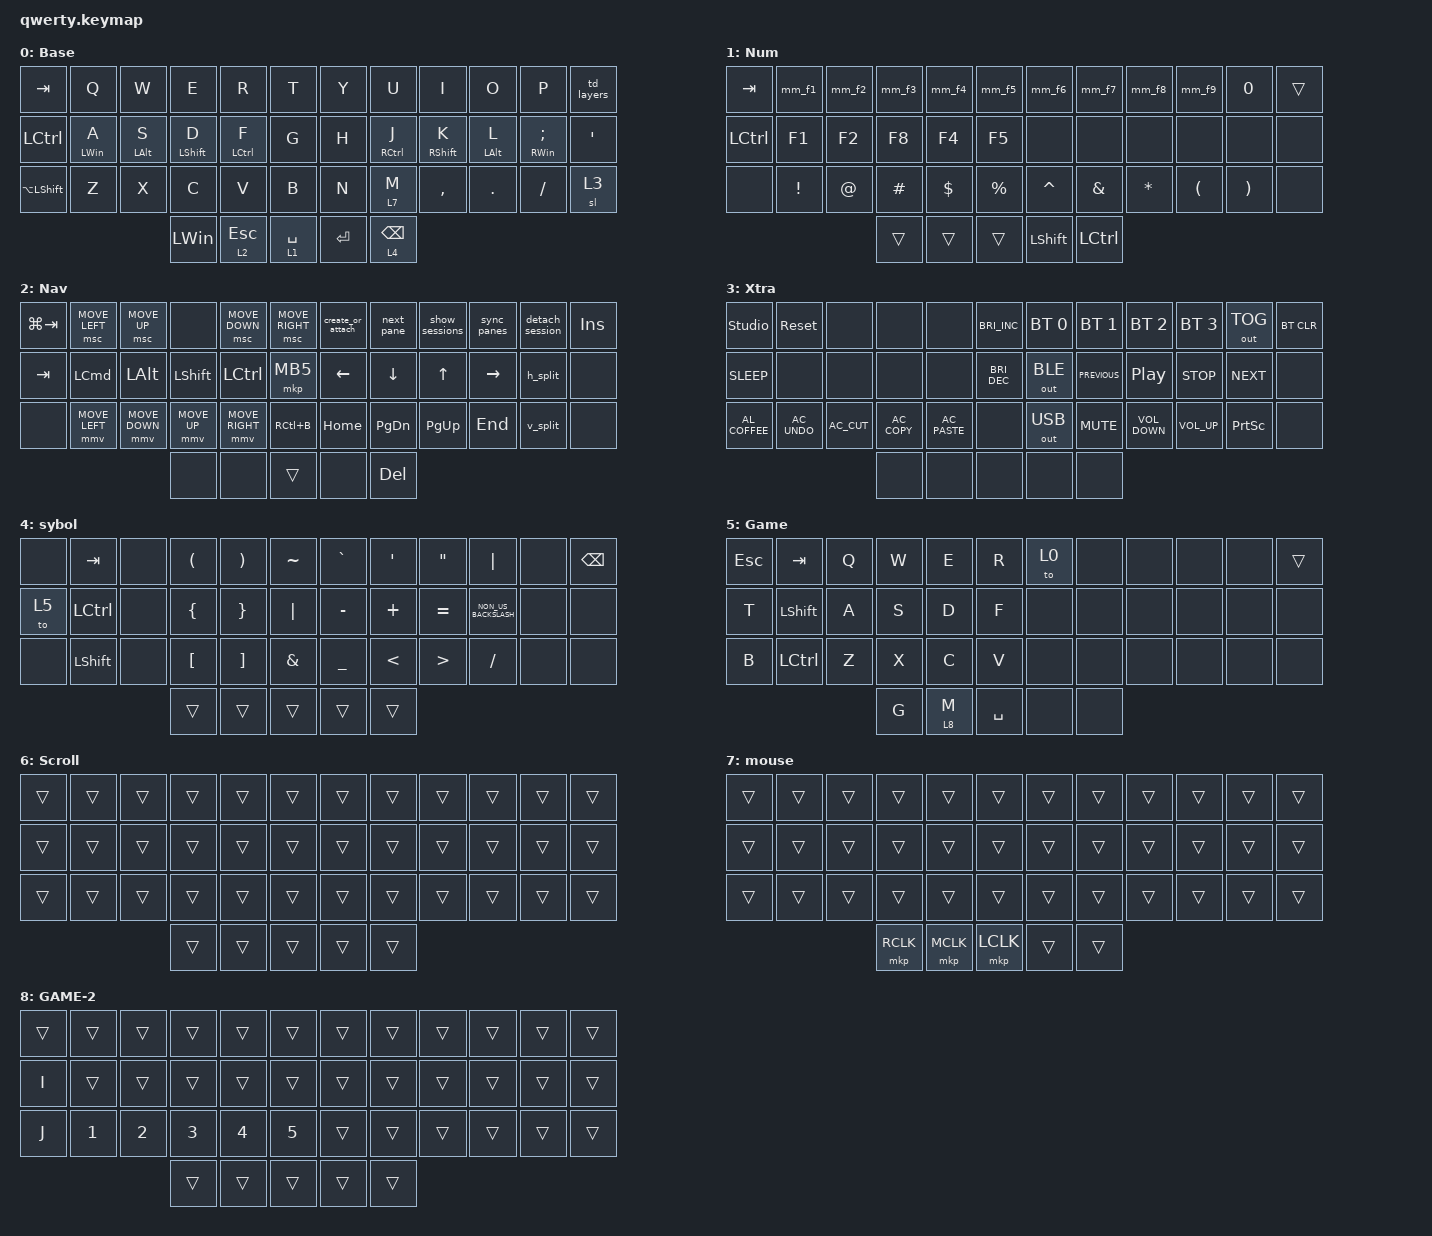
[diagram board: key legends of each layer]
/* upstream bindings and behaviors */

#include <dt-bindings/zmk/mouse.h>
#include <behaviors/mouse_keys.dtsi>
#include <behaviors.dtsi>
#include <dt-bindings/zmk/bt.h>
#include <dt-bindings/zmk/keys.h>
#include <dt-bindings/zmk/outputs.h>
#include <dt-bindings/zmk/pointing.h>

/* local overlays */

/ {
    /* --- KEYMAP CONFIG --- */
    // ╭──────┬──────┬──────┬──────┬──────┬──────╮  ╭──────┬──────┬──────┬──────┬──────┬──────╮
    //    00     01     02     03    04      05        06     07     08     09     10     11
    // ├──────┼──────┼──────┼──────┼──────┼──────┤  ├──────┼──────┼──────┼──────┼──────┼──────┤
    //    12     13     14     15    16      17        18     19     20     21     22     23
    // ├──────┼──────┼──────┼──────┼──────┼──────┤  ├──────┼──────┼──────┼──────┼──────┼──────┤
    //    24     25     26     27    28      29        30     31     32     33     34     35
    // ╰──────┴──────┴──────┼──────┼──────┼──────┤  ├──────┼──────┼──────┴──────┴──────┴──────╯
    //                         36     37     38        39     40
    //                      ╰──────┴──────┴──────╯  ╰──────┴──────╯
    // #define BASE    0
    // #define NUM     1
    // #define NAV     2
    // #define SYM     3
    // #define GAME    4
    // #define EXTRAS  5
    // #define SLOW    6
    // #define SCROLL  7
    // #define mouse   8

    #define KEYS_L 0 1 2 3 4 5 12 13 14 15 16 17 24 25 26 27 28 29 36 37 38 19 20 21 22  // Left-hand keys.
#define KEYS_R 6 7 8 9 10 11 18 19 20 21 22 23 30 31 32 33 34 35 39 40 16 15 14 13  // Right-hand keys.
#define THUMBS 36 37 38 39 40  // Thumb keys.
    behaviors {
        // ht_num_func: homerow_mod {
        //     compatible = "zmk,behavior-hold-tap";
        //     #binding-cells = <2>;
        //     flavor = "tap-preferred";
        //     tapping-term-ms = <260>; // triggers the hold behavior when the tapping-term-ms has expired
        //     quick-tap-ms = <220>; // If you press a tapped hold-tap again within quick-tap-ms milliseconds of the first press, it will always trigger the tap behavior.
        //     require-prior-idle-ms = <185>; // like quick-tap-ms however it will apply for any non-modifier key pressed before it
        //     bindings = <&kp>, <&kp>;  // hold, tap
        // };

        mm_f1: num_or_f1 {
            compatible = "zmk,behavior-mod-morph";
            #binding-cells = <0>;
            bindings = <&kp N1>, <&kp F1>;

            mods = <(MOD_LCTL)>;
        };

        mm_f2: num_or_f2 {
            compatible = "zmk,behavior-mod-morph";
            #binding-cells = <0>;
            bindings = <&kp N2>, <&kp F2>;

            mods = <(MOD_LCTL)>;
        };

        mm_f3: num_or_f3 {
            compatible = "zmk,behavior-mod-morph";
            #binding-cells = <0>;
            bindings = <&kp N3>, <&kp F3>;

            mods = <(MOD_LCTL)>;
        };

        mm_f4: num_or_f4 {
            compatible = "zmk,behavior-mod-morph";
            #binding-cells = <0>;
            bindings = <&kp N4>, <&kp F4>;

            mods = <(MOD_LCTL)>;
        };

        mm_f5: num_or_f5 {
            compatible = "zmk,behavior-mod-morph";
            #binding-cells = <0>;
            bindings = <&kp N5>, <&kp F5>;

            mods = <(MOD_LCTL)>;
        };

        mm_f6: num_or_f6 {
            compatible = "zmk,behavior-mod-morph";
            #binding-cells = <0>;
            bindings = <&kp N6>, <&kp F6>;

            mods = <(MOD_LCTL)>;
        };

        mm_f7: num_or_f7 {
            compatible = "zmk,behavior-mod-morph";
            #binding-cells = <0>;
            bindings = <&kp N7>, <&kp F7>;

            mods = <(MOD_LCTL)>;
        };

        mm_f8: num_or_f8 {
            compatible = "zmk,behavior-mod-morph";
            #binding-cells = <0>;
            bindings = <&kp N8>, <&kp F8>;

            mods = <(MOD_LCTL)>;
        };

        mm_f9: num_or_f9 {
            compatible = "zmk,behavior-mod-morph";
            #binding-cells = <0>;
            bindings = <&kp N9>, <&kp F9>;

            mods = <(MOD_LCTL)>;
        };

        mm_f10: pct_or_f10 {
            compatible = "zmk,behavior-mod-morph";
            #binding-cells = <0>;
            bindings = <&kp PRCNT>, <&kp F10>;

            mods = <(MOD_LCTL)>;
        };

        mm_f11: asterisk_or_f11 {
            compatible = "zmk,behavior-mod-morph";
            #binding-cells = <0>;
            bindings = <&kp ASTRK>, <&kp F11>;

            mods = <(MOD_LCTL)>;
        };

        mm_f12: dot_or_f12 {
            compatible = "zmk,behavior-mod-morph";
            #binding-cells = <0>;
            bindings = <&kp DOT>, <&kp F12>;

            mods = <(MOD_LCTL)>;
        };

        // Left-hand HRM

        ht_left: left_side_homerow_mod {
            compatible = "zmk,behavior-hold-tap";
            #binding-cells = <2>;
            flavor = "balanced";
            tapping-term-ms = <280>;
            quick-tap-ms = <160>;
            require-prior-idle-ms = <65>;
            retro-tap;
            bindings = <&kp>, <&kp>;

            hold-trigger-key-positions = <KEYS_R THUMBS>;
        };

        // Right-hand HRM

        ht_right: right_side_homerow_mod {
            compatible = "zmk,behavior-hold-tap";
            #binding-cells = <2>;
            flavor = "balanced";
            tapping-term-ms = <280>;
            quick-tap-ms = <160>;
            require-prior-idle-ms = <55>;
            retro-tap;
            bindings = <&kp>, <&kp>;

            hold-trigger-key-positions = <KEYS_L THUMBS>;
        };

        td_esc_scrl_slow: td_esc_scrl_slow {
            compatible = "zmk,behavior-tap-dance";
            #binding-cells = <0>;
            tapping-term-ms = <150>;
            bindings = <&lt 5 ESC>, <&mo 3>;

            // hold, tap, double_tap
        };

        lt_nav: nav_layer_tap {
            compatible = "zmk,behavior-hold-tap";
            #binding-cells = <2>;
            flavor = "tap-preferred";
            tapping-term-ms = <170>;
            bindings = <&mo>, <&kp>;
        };

        td_space_nav: td_space {
            compatible = "zmk,behavior-tap-dance";
            #binding-cells = <0>;
            tapping-term-ms = <110>;
            bindings = <&lt_nav 2 SPACE>, <&kp SPACE>;

            // hold, tap, double_tap
        };

        mo_clk: mo_click {
            compatible = "zmk,behavior-hold-tap";
            #binding-cells = <2>;
            flavor = "hold-preferred";
            tapping-term-ms = <40>;
            hold-while-undecided;
            bindings = <&mo>, <&mkp>;
        };

        td_clk: td_clk {
            compatible = "zmk,behavior-tap-dance";
            #binding-cells = <0>;
            tapping-term-ms = <170>;
            bindings = <&mo_clk 0 LCLK>, <&mkp LCLK>;

            // hold, tap, double_tap
        };

        mo_kp: mo_kp {
            compatible = "zmk,behavior-hold-tap";
            #binding-cells = <2>;
            flavor = "hold-preferred";
            tapping-term-ms = <40>;
            hold-while-undecided;
            bindings = <&mo>, <&kp>;
        };

        td_bs: td_bs {
            compatible = "zmk,behavior-tap-dance";
            #binding-cells = <0>;
            tapping-term-ms = <170>;
            bindings = <&mo_kp 1 BACKSPACE>, <&kp BACKSPACE>;

            // hold, tap, double_tap
        };

        httl: ht_two_layers {
            compatible = "zmk,behavior-hold-tap";
            bindings = <&mo>, <&to>;

            #binding-cells = <2>;
            flavor = "balanced";
            tapping-term-ms = <125>;
        };

        td_layers: td_layer_swap {
            compatible = "zmk,behavior-tap-dance";
            #binding-cells = <0>;
            bindings = <&to 0>, <&to 5>;

            // tap, double_tap
        };

        td_clk_scrl: td_click_or_scroll {
            compatible = "zmk,behavior-tap-dance";
            #binding-cells = <0>;
            tapping-term-ms = <250>;
            bindings = <&mkp RCLK>, <&mo 0>;

            // tap/hold, double_tap
        };

        td_bore: BASE_or_EXTRA {
            compatible = "zmk,behavior-tap-dance";
            #binding-cells = <0>;
            bindings = <&mo 0>, <&to 0>;
        };

        mm_qm_ex: question_exclamation {
            compatible = "zmk,behavior-mod-morph";
            #binding-cells = <0>;
            bindings = <&kp QUESTION>, <&kp EXCLAMATION>;

            mods = <(MOD_LSFT | MOD_RSFT)>;
        };

        mm_pr_col: period_colon {
            compatible = "zmk,behavior-mod-morph";
            #binding-cells = <0>;
            bindings = <&kp PERIOD>, <&kp COLON>;

            mods = <(MOD_LSFT | MOD_RSFT)>;
        };

        mm_cm_sc: comma_semi_colon {
            compatible = "zmk,behavior-mod-morph";
            #binding-cells = <0>;
            bindings = <&kp COMMA>, <&kp SEMICOLON>;

            mods = <(MOD_LSFT | MOD_RSFT)>;
        };
    };

    macros {
        v_split: v_split {
            compatible = "zmk,behavior-macro";
            #binding-cells = <0>;
            bindings = <&macro_tap>, <&kp LC(B) &kp PRCNT>;
        };

        h_split: h_split {
            compatible = "zmk,behavior-macro";
            #binding-cells = <0>;
            bindings = <&macro_tap>, <&kp LC(B) &kp DQT>;
        };

        detach_session: detach_session {
            compatible = "zmk,behavior-macro";
            #binding-cells = <0>;
            bindings = <&kp LC(B) &kp D>;
        };

        sync_panes: sync_panes {
            compatible = "zmk,behavior-macro";
            #binding-cells = <0>;
            bindings = <&kp LC(B) &kp SPACE>;
        };

        next_pane: next_pane {
            compatible = "zmk,behavior-macro";
            #binding-cells = <0>;
            bindings = <&kp LC(B) &kp O>;
        };

        show_sessions: show_sessions {
            compatible = "zmk,behavior-macro";
            #binding-cells = <0>;
            bindings = <&kp LC(B) &kp S>;
        };

        create_or_attach: create_or_attach {
            compatible = "zmk,behavior-macro";
            #binding-cells = <0>;
            bindings =
                <&macro_tap>,
                <&kp T>,
                <&macro_tap>,
                <&kp M>,
                <&macro_tap>,
                <&kp U>,
                <&macro_tap>,
                <&kp X>,
                <&macro_tap>,
                <&kp SPC>,
                <&macro_tap>,
                <&kp N>,
                <&macro_tap>,
                <&kp E>,
                <&macro_tap>,
                <&kp W>,
                <&macro_tap>,
                <&kp MINUS>,
                <&macro_tap>,
                <&kp S>,
                <&macro_tap>,
                <&kp E>,
                <&macro_tap>,
                <&kp S>,
                <&macro_tap>,
                <&kp S>,
                <&macro_tap>,
                <&kp I>,
                <&macro_tap>,
                <&kp O>,
                <&macro_tap>,
                <&kp N>,
                <&macro_tap>,
                <&kp SPC>,
                <&macro_tap>,
                <&kp MINUS>,
                <&macro_tap>,
                <&kp A>,
                <&macro_tap>,
                <&kp SPC>,
                <&macro_tap>,
                <&kp MINUS>,
                <&macro_tap>,
                <&kp S>,
                <&macro_tap>,
                <&kp SPC>;
        };

        shrug: shrug {
            compatible = "zmk,behavior-macro";
            #binding-cells = <0>;
            wait-ms = <10>;
            tap-ms = <20>;
            bindings =
                <&macro_press>,
                <&kp LCTRL &kp LSHFT>,
                <&macro_tap>,
                <&kp U>,
                <&macro_release>,
                <&kp LCTRL &kp LSHFT>,
                <&macro_tap>,
                <&kp N0 &kp N0 &kp A &kp F &kp SPC>,
                <&macro_tap>,
                <&kp BACKSLASH>,
                <&macro_tap>,
                <&kp UNDER>,
                <&macro_tap>,
                <&kp LPAR>,
                <&macro_press>,
                <&kp LCTRL &kp LSHFT>,
                <&macro_tap>,
                <&kp U>,
                <&macro_release>,
                <&kp LCTRL &kp LSHFT>,
                <&macro_tap>,
                <&kp N3 &kp N0 &kp C &kp N4 &kp SPC>,
                <&macro_tap>,
                <&kp RPAR>,
                <&macro_tap>,
                <&kp UNDER>,
                <&macro_tap>,
                <&kp FSLH>,
                <&macro_press>,
                <&kp LCTRL &kp LSHFT>,
                <&macro_tap>,
                <&kp U>,
                <&macro_release>,
                <&kp LCTRL &kp LSHFT>,
                <&macro_tap>,
                <&kp N0 &kp N0 &kp A &kp F &kp SPC>;
        };

        gcm: gcm {
            compatible = "zmk,behavior-macro";
            #binding-cells = <0>;
            wait-ms = <10>;
            tap-ms = <20>;
            bindings =
                <&macro_tap>,
                <&kp G &kp I &kp T &kp SPACE &kp C &kp O &kp M &kp M &kp I &kp T &kp SPACE &kp MINUS &kp A &kp M &kp SPACE &kp DQT &kp LS(W) &kp LS(I) &kp LS(P) &kp DQT>;
        };

        gpush: gpush {
            compatible = "zmk,behavior-macro";
            #binding-cells = <0>;
            wait-ms = <10>;
            tap-ms = <20>;
            bindings =
                <&macro_tap>,
                <&kp G &kp I &kp T &kp SPACE &kp P &kp U &kp S &kp H>;
        };

        lgtm: lgtm {
            compatible = "zmk,behavior-macro";
            #binding-cells = <0>;
            wait-ms = <10>;
            tap-ms = <20>;
            bindings =
                <&macro_tap>,
                <&kp LS(L) &kp LS(G) &kp LS(T) &kp LS(M) &kp SPACE &kp MINUS &kp SPACE &kp LS(A) &kp P &kp P &kp R &kp O &kp V &kp E &kp D &kp EXCL>;
        };

        sudo: sudo {
            compatible = "zmk,behavior-macro";
            #binding-cells = <0>;
            wait-ms = <10>;
            tap-ms = <20>;
            bindings =
                <&macro_tap>,
                <&kp S &kp U &kp D &kp O>,
                <&macro_tap>,
                <&kp SPACE>,
                <&macro_tap>,
                <&kp EXCL &kp EXCL>,
                <&macro_tap>,
                <&kp RET>;
        };

        clip_hist: clip_hist {
            compatible = "zmk,behavior-macro";
            #binding-cells = <0>;
            bindings =
                <&macro_press>,
                <&kp LGUI>,
                <&macro_tap>,
                <&kp V>,
                <&macro_release>,
                <&kp LGUI>;
        };

        new_dir: new_dir {
            compatible = "zmk,behavior-macro";
            #binding-cells = <0>;
            bindings =
                <&macro_press>,
                <&kp LCTRL &kp LSHFT>,
                <&macro_tap>,
                <&kp N>,
                <&macro_release>,
                <&kp LCTRL &kp LSHFT>;
        };

        mc_add_above: multicursor_add_above {
            compatible = "zmk,behavior-macro";
            #binding-cells = <0>;
            bindings =
                <&macro_press>,
                <&kp LCTRL &kp LALT>,
                <&macro_tap>,
                <&kp UP>,
                <&macro_release>,
                <&kp LCTRL &kp LALT>;
        };

        mc_add_below: multicursor_add_below {
            compatible = "zmk,behavior-macro";
            #binding-cells = <0>;
            bindings =
                <&macro_press>,
                <&kp LCTRL &kp LALT>,
                <&macro_tap>,
                <&kp DOWN>,
                <&macro_release>,
                <&kp LCTRL &kp LALT>;
        };

        delete_line: delete_line {
            compatible = "zmk,behavior-macro";
            #binding-cells = <0>;
            bindings =
                <&macro_press>,
                <&kp LCTRL &kp LSHFT>,
                <&macro_tap>,
                <&kp K>,
                <&macro_release>,
                <&kp LCTRL &kp LSHFT>;
        };

        move_line_up: move_line_up {
            compatible = "zmk,behavior-macro";
            #binding-cells = <0>;
            bindings =
                <&macro_press>,
                <&kp LALT>,
                <&macro_tap>,
                <&kp UP>,
                <&macro_release>,
                <&kp LALT>;
        };

        move_line_down: move_line_down {
            compatible = "zmk,behavior-macro";
            #binding-cells = <0>;
            bindings =
                <&macro_press>,
                <&kp LALT>,
                <&macro_tap>,
                <&kp DOWN>,
                <&macro_release>,
                <&kp LALT>;
        };

        code_blk: code_blk {
            compatible = "zmk,behavior-macro";
            #binding-cells = <0>;
            bindings =
                <&macro_tap>,
                <&kp GRAVE>,
                <&macro_tap>,
                <&kp GRAVE>,
                <&macro_tap>,
                <&kp GRAVE>;
        };

        home_dir: home_dir {
            compatible = "zmk,behavior-macro";
            #binding-cells = <0>;
            bindings = <&macro_tap>, <&kp TILDE>, <&macro_tap>, <&kp FSLH>;
        };

        combo_all_windows_hold: combo_all_windows_hold {
            compatible = "zmk,behavior-macro";
            #binding-cells = <0>;
            bindings = <&kp LC(F10)>;
        };

        combo_all_windows_tap: combo_all_windows_tap {
            compatible = "zmk,behavior-macro";
            #binding-cells = <0>;
            bindings = <&kp LA(TAB)>;
        };

        combo_app_windows_hold: combo_app_windows_hold {
            compatible = "zmk,behavior-macro";
            #binding-cells = <0>;
            bindings = <&kp LC(F7)>;
        };

        combo_app_windows_tap: combo_app_windows_tap {
            compatible = "zmk,behavior-macro";
            #binding-cells = <0>;
            bindings = <&kp LA(GRAVE)>;
        };

        desktop_prev: desktop_prev {
            compatible = "zmk,behavior-macro";
            #binding-cells = <0>;
            bindings =
                <&macro_press>,
                <&kp LCTRL &kp LALT>,
                <&macro_tap>,
                <&kp LEFT_ARROW>,
                <&macro_release>,
                <&kp LALT &kp LCTRL>;
        };

        desktop_next: desktop_next {
            compatible = "zmk,behavior-macro";
            #binding-cells = <0>;
            bindings =
                <&macro_press>,
                <&kp LCTRL &kp LALT>,
                <&macro_tap>,
                <&kp RIGHT_ARROW>,
                <&macro_release>,
                <&kp LALT &kp LCTRL>;
        };
    };

    combos {
        compatible = "zmk,combos";

        CapsWord {
            bindings = <&caps_word>;
            key-positions = <17 18>;
            layers = <0>;
        };

        combo_left_click {
            bindings = <&mkp LCLK>;
            key-positions = <28 27>;
        };

        combo_middle_click {
            bindings = <&mkp MCLK>;
            key-positions = <26 25>;
        };

        combo_right_click {
            bindings = <&mkp RCLK>;
            key-positions = <26 27>;
        };

        combo_left_click_two {
            bindings = <&mkp LCLK>;
            key-positions = <31 32>;
        };

        combo_middle_click_two {
            bindings = <&mkp MCLK>;
            key-positions = <33 34>;
        };

        combo_right_click_two {
            bindings = <&mkp RCLK>;
            key-positions = <32 33>;
        };

        back_to_base_layer {
            bindings = <&to 0>;
            key-positions = <10 11>;
        };

        bootloader-left {
            bindings = <&bootloader>;
            key-positions = <0 24>;
        };

        bootloader-right {
            bindings = <&bootloader>;
            key-positions = <11 35>;
        };
    };

    keymap {
        compatible = "zmk,keymap";

        BASE {
            display-name = "Base";
            bindings = <
&kp TAB             &kp Q                &kp W                &kp E              &kp R                    &kp T          &kp Y      &kp U                      &kp I               &kp O             &kp P                          &td_layers
&kp LCTRL           &ht_left LEFT_WIN A  &ht_left LEFT_ALT S  &ht_left LSHIFT D  &ht_left LEFT_CONTROL F  &kp G          &kp H      &ht_right RIGHT_CONTROL J  &ht_right RSHIFT K  &ht_right LALT L  &ht_right RIGHT_WIN SEMICOLON  &kp SQT
&kp LA(LEFT_SHIFT)  &kp Z                &kp X                &kp C              &kp V                    &kp B          &kp N      &lt 7 M                    &kp COMMA           &kp PERIOD        &kp SLASH                      &sl 3
                                                              &kp LEFT_WIN       &lt 2 ESCAPE             &lt 1 SPACE    &kp ENTER  &lt 4 BACKSPACE
            >;
        };

        NUM {
            display-name = "Num";
            bindings = <
&kp TAB    &mm_f1           &mm_f2       &mm_f3    &mm_f4      &mm_f5         &mm_f6          &mm_f7         &mm_f8        &mm_f9                &kp N0                 &trans
&kp LCTRL  &kp F1           &kp F2       &kp F8    &kp F4      &kp F5         &none           &none          &none         &none                 &none                  &none
&none      &kp EXCLAMATION  &kp AT_SIGN  &kp HASH  &kp DOLLAR  &kp PERCENT    &kp CARET       &kp AMPERSAND  &kp ASTERISK  &kp LEFT_PARENTHESIS  &kp RIGHT_PARENTHESIS  &none
                                         &trans    &trans      &trans         &kp LEFT_SHIFT  &kp LCTRL
            >;
        };

        NAV {
            display-name = "Nav";
            bindings = <
&kp LG(TAB)  &msc MOVE_LEFT  &msc MOVE_UP    &none         &msc MOVE_DOWN   &msc MOVE_RIGHT    &create_or_attach  &next_pane      &show_sessions  &sync_panes      &detach_session  &kp INSERT
&kp TAB      &kp LCMD        &kp LALT        &kp LSHFT     &kp LCTRL        &mkp MB5           &kp LEFT_ARROW     &kp DOWN_ARROW  &kp UP_ARROW    &kp RIGHT_ARROW  &h_split         &none
&none        &mmv MOVE_LEFT  &mmv MOVE_DOWN  &mmv MOVE_UP  &mmv MOVE_RIGHT  &kp RC(B)          &kp HOME           &kp PAGE_DOWN   &kp PG_UP       &kp END          &v_split         &none
                                             &none         &none            &trans             &none              &kp DELETE
            >;
        };

        EXTRAS {
            display-name = "Xtra";
            bindings = <
&studio_unlock   &sys_reset     &none         &none          &none           &kp C_BRIGHTNESS_INC    &bt BT_SEL 0  &bt BT_SEL 1    &bt BT_SEL 2       &bt BT_SEL 3     &out OUT_TOG     &bt BT_CLR
&kp C_SLEEP      &none          &none         &none          &none           &kp C_BRIGHTNESS_DEC    &out OUT_BLE  &kp C_PREVIOUS  &kp C_PLAY_PAUSE   &kp C_STOP       &kp C_NEXT       &none
&kp C_AL_COFFEE  &kp C_AC_UNDO  &kp C_AC_CUT  &kp C_AC_COPY  &kp C_AC_PASTE  &none                   &out OUT_USB  &kp K_MUTE      &kp C_VOLUME_DOWN  &kp C_VOLUME_UP  &kp PRINTSCREEN  &none
                                              &none          &none           &none                   &none         &none
            >;
        };

        SYM {
            display-name = "sybol";
            bindings = <
&none  &kp TAB    &none  &kp LEFT_PARENTHESIS  &kp RIGHT_PARENTHESIS  &kp TILDE    &kp GRAVE       &kp SQT        &kp DOUBLE_QUOTES  &kp PIPE              &none  &kp BACKSPACE
&to 5  &kp LCTRL  &none  &kp LEFT_BRACE        &kp RIGHT_BRACE        &kp PIPE     &kp MINUS       &kp PLUS       &kp EQUAL          &kp NON_US_BACKSLASH  &none  &none
&none  &kp LSHFT  &none  &kp LEFT_BRACKET      &kp RIGHT_BRACKET      &kp AMPS     &kp UNDERSCORE  &kp LESS_THAN  &kp GREATER_THAN   &kp SLASH             &none  &none
                         &trans                &trans                 &trans       &trans          &trans
            >;
        };

        GAME {
            display-name = "Game";
            bindings = <
&kp ESC  &kp TAB    &kp Q  &kp W  &kp E    &kp R        &to 0  &none  &none  &none  &none  &trans
&kp T    &kp LSHFT  &kp A  &kp S  &kp D    &kp F        &none  &none  &none  &none  &none  &none
&kp B    &kp LCTRL  &kp Z  &kp X  &kp C    &kp V        &none  &none  &none  &none  &none  &none
                           &kp G  &lt 8 M  &kp SPACE    &none  &none
            >;
        };

        SCROLL {
            display-name = "Scroll";
            bindings = <
&trans  &trans  &trans  &trans  &trans  &trans    &trans  &trans  &trans  &trans  &trans  &trans
&trans  &trans  &trans  &trans  &trans  &trans    &trans  &trans  &trans  &trans  &trans  &trans
&trans  &trans  &trans  &trans  &trans  &trans    &trans  &trans  &trans  &trans  &trans  &trans
                        &trans  &trans  &trans    &trans  &trans
            >;
        };

        mouse {
            bindings = <
&trans  &trans  &trans  &trans     &trans     &trans       &trans  &trans  &trans  &trans  &trans  &trans
&trans  &trans  &trans  &trans     &trans     &trans       &trans  &trans  &trans  &trans  &trans  &trans
&trans  &trans  &trans  &trans     &trans     &trans       &trans  &trans  &trans  &trans  &trans  &trans
                        &mkp RCLK  &mkp MCLK  &mkp LCLK    &trans  &trans
            >;
        };

        GAME-2 {
            bindings = <
&trans  &trans  &trans  &trans  &trans  &trans    &trans  &trans  &trans  &trans  &trans  &trans
&kp I   &trans  &trans  &trans  &trans  &trans    &trans  &trans  &trans  &trans  &trans  &trans
&kp J   &kp N1  &kp N2  &kp N3  &kp N4  &kp N5    &trans  &trans  &trans  &trans  &trans  &trans
                        &trans  &trans  &trans    &trans  &trans
            >;
        };
    };
};
